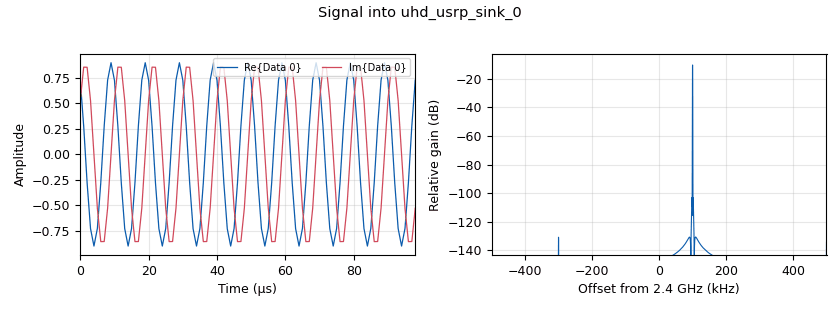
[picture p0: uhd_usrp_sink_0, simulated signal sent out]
options:
  parameters:
    category: Custom
    generate_options: qt_gui
    id: tx_medidas
    output_language: python
    title: tx_medidas
  states: {}

blocks:
- name: freq
  id: variable
  parameters:
    value: 2400.0e6
  states: {}
- name: gain_tx
  id: variable_qtgui_range
  parameters:
    gui_hint: 'controls@1: 1,0,1,1'
    label: Gain Tx
    orient: Qt.Horizontal
    start: '0'
    step: '1'
    stop: '100'
    value: '80'
  states: {}
- name: samp_rate
  id: variable
  parameters:
    value: 1e6
  states: {}
- name: analog_sig_source_x_0
  id: analog_sig_source_x
  parameters:
    amp: '0.9'
    freq: '100000'
    offset: '0'
    phase: '0'
    samp_rate: samp_rate
    type: complex
    waveform: analog.GR_COS_WAVE
  states: {}
- name: controls
  id: qtgui_tab_widget
  parameters:
    gui_hint: 0,0,1,2
    label0: TX
    label1: Gain
    num_tabs: '2'
  states: {}
- name: uhd_usrp_sink_0
  id: uhd_usrp_sink
  parameters:
    ant0: '"TX/RX"'
    center_freq0: freq
    clock_rate: '0.0'
    dev_addr: '"serial=31BA185"'
    dev_args: '""'
    gain0: '80'
    len_tag_name: ''
    norm_gain0: 'False'
    samp_rate: samp_rate
    sync: sync
    type: fc32
  states: {}

connections:
- [analog_sig_source_x_0, '0', uhd_usrp_sink_0, '0']

metadata:
  file_format: 1
